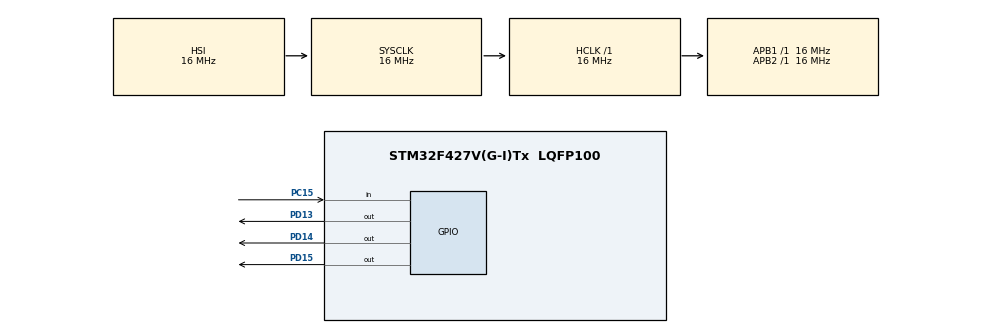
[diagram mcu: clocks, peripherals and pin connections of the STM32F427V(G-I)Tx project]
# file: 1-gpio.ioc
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Mcu.Family=STM32F4
Mcu.Name=STM32F427V(G-I)Tx
Mcu.Package=LQFP100
NVIC.PriorityGroup=NVIC_PRIORITYGROUP_4
PA13.Mode=JTAG_5_pins
PA13.Signal=SYS_JTMS-SWDIO
PA14.Mode=JTAG_5_pins
PA14.Signal=SYS_JTCK-SWCLK
PA15.Mode=JTAG_5_pins
PA15.Signal=SYS_JTDI
PB3.Mode=JTAG_5_pins
PB3.Signal=SYS_JTDO-SWO
PB4.Mode=JTAG_5_pins
PB4.Signal=SYS_JTRST
PC15/OSC32_OUT.Signal=GPIO_Input
PD13.Signal=GPIO_Output
PD14.Signal=GPIO_Output
PD15.Signal=GPIO_Output
ProjectManager.HeapSize=0x200
ProjectManager.StackSize=0x400
ProjectManager.TargetToolchain=STM32CubeIDE
RCC.AHBFreq_Value=16000000
RCC.APB1Freq_Value=16000000
RCC.APB2Freq_Value=16000000
RCC.CortexFreq_Value=16000000
RCC.HSE_VALUE=25000000
RCC.HSI_VALUE=16000000
RCC.LSE_VALUE=32768
RCC.SYSCLKFreq_VALUE=16000000
RCC.VCOOutputFreq_Value=192000000
board=custom

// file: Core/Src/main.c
/* USER CODE BEGIN Header */
/**
 ******************************************************************************
 * @file           : main.c
 * @brief          : Main program body
 ******************************************************************************
 * @attention
 *
 * Copyright (c) 2024 STMicroelectronics.
 * All rights reserved.
 *
 * This software is licensed under terms that can be found in the LICENSE file
 * in the root directory of this software component.
 * If no LICENSE file comes with this software, it is provided AS-IS.
 *
 ******************************************************************************
 */
/* USER CODE END Header */
#include "main.h"

/* USER CODE BEGIN Includes */
#include "animation.h"
#include "coroutine.h"
#include "count2.h"
#include "debounce.h"

#include "stm32f427xx.h"
#include "stm32f4xx_hal.h"
#include "sys/_intsup.h"

#include <limits.h>
#include <stdbool.h>
#include <stdint.h>
/* USER CODE END Includes */

void SystemClock_Config(void);
static void MX_GPIO_Init(void);

/* USER CODE BEGIN 0 */
typedef enum {
  GREEN = GPIO_PIN_13,
  YELLOW = GPIO_PIN_14,
  RED = GPIO_PIN_15,
} Color;

typedef enum {
  ON = GPIO_PIN_SET,
  OFF = GPIO_PIN_RESET,
} LightState;

static void light(Color color, LightState state) {
  HAL_GPIO_WritePin(GPIOD, color, state);
}

bool is_pressed() { return !HAL_GPIO_ReadPin(GPIOC, GPIO_PIN_15); }

long unsigned int now() { return HAL_GetTick(); }

/* USER CODE END 0 */

int main(void) {

  /* MCU Configuration--------------------------------------------------------*/

  /* Reset of all peripherals, Initializes the Flash interface and the Systick.
   */
  HAL_Init();

  /* Configure the system clock */
  SystemClock_Config();

  /* Initialize all configured peripherals */
  MX_GPIO_Init();

  /* Infinite loop */
  /* USER CODE BEGIN WHILE */

  count2_t count;
  count2_init(&count);

  coroutine(debounce) debouncing = coroutine_create(debounce, is_pressed, now);

  unsigned int animating_tick = UINT_MAX;
  coroutine(animation) animating;

  for (;;) {
    unsigned int tick = HAL_GetTick();

    const bool is_animating = (animating_tick != UINT_MAX);
    bool is_overflowed = false;

    enum debounce_state_t state = coroutine_next(debouncing);
    if (!is_animating) {
      switch (state) {
      case DEBOUNCE_SHORT_CLIKED: {
        count2_add(&count);
        is_overflowed = (count2_value(&count) == 0);
      } break;
      case DEBOUNCE_LONG_CLIKED: {
        count2_sub(&count);
        is_overflowed = (count2_value(&count) == 3);
      } break;
      case DEBOUNCE_NOT_CLIKED: {
        // Do nothing
      } break;
      }
    }

    if (!is_animating) {
      if (count2_bit(&count, 0)) {
        light(GREEN, ON);
      } else {
        light(GREEN, OFF);
      }

      if (count2_bit(&count, 1)) {
        light(YELLOW, ON);
      } else {
        light(YELLOW, OFF);
      }
    }

    if (is_overflowed) {
      animating = coroutine_create(animation, count2_overflows(&count));
      light(GREEN, OFF);
      light(YELLOW, OFF);
    }

    if (is_overflowed || (is_animating && animating_tick < tick)) { // ABA?
      const unsigned int delay = coroutine_next(animating);
      if (delay == 0) {
        animating_tick = UINT_MAX;
      } else {
        animating_tick = tick + delay;
      }
    }

    /* USER CODE END WHILE */

    /* USER CODE BEGIN 3 */
  }

  for (;;) {
    // Do nothing
  }
  /* USER CODE END 3 */
}

void SystemClock_Config(void) {
  RCC_OscInitTypeDef RCC_OscInitStruct = {0};
  RCC_ClkInitTypeDef RCC_ClkInitStruct = {0};

  /** Configure the main internal regulator output voltage
   */
  __HAL_RCC_PWR_CLK_ENABLE();
  __HAL_PWR_VOLTAGESCALING_CONFIG(PWR_REGULATOR_VOLTAGE_SCALE3);

  /** Initializes the RCC Oscillators according to the specified parameters
   * in the RCC_OscInitTypeDef structure.
   */
  RCC_OscInitStruct.OscillatorType = RCC_OSCILLATORTYPE_HSI;
  RCC_OscInitStruct.HSIState = RCC_HSI_ON;
  RCC_OscInitStruct.HSICalibrationValue = RCC_HSICALIBRATION_DEFAULT;
  RCC_OscInitStruct.PLL.PLLState = RCC_PLL_NONE;
  if (HAL_RCC_OscConfig(&RCC_OscInitStruct) != HAL_OK) {
    Error_Handler();
  }

  /** Initializes the CPU, AHB and APB buses clocks
   */
  RCC_ClkInitStruct.ClockType = RCC_CLOCKTYPE_HCLK | RCC_CLOCKTYPE_SYSCLK |
                                RCC_CLOCKTYPE_PCLK1 | RCC_CLOCKTYPE_PCLK2;
  RCC_ClkInitStruct.SYSCLKSource = RCC_SYSCLKSOURCE_HSI;
  RCC_ClkInitStruct.AHBCLKDivider = RCC_SYSCLK_DIV1;
  RCC_ClkInitStruct.APB1CLKDivider = RCC_HCLK_DIV1;
  RCC_ClkInitStruct.APB2CLKDivider = RCC_HCLK_DIV1;

  if (HAL_RCC_ClockConfig(&RCC_ClkInitStruct, FLASH_LATENCY_0) != HAL_OK) {
    Error_Handler();
  }
}

static void MX_GPIO_Init(void) {
  GPIO_InitTypeDef GPIO_InitStruct = {0};

  /* GPIO Ports Clock Enable */
  __HAL_RCC_GPIOC_CLK_ENABLE();
  __HAL_RCC_GPIOD_CLK_ENABLE();
  __HAL_RCC_GPIOA_CLK_ENABLE();
  __HAL_RCC_GPIOB_CLK_ENABLE();

  /*Configure GPIO pin Output Level */
  HAL_GPIO_WritePin(GPIOD, GPIO_PIN_13 | GPIO_PIN_14 | GPIO_PIN_15,
                    GPIO_PIN_RESET);

  /*Configure GPIO pin : PC15 */
  GPIO_InitStruct.Pin = GPIO_PIN_15;
  GPIO_InitStruct.Mode = GPIO_MODE_INPUT;
  GPIO_InitStruct.Pull = GPIO_NOPULL;
  HAL_GPIO_Init(GPIOC, &GPIO_InitStruct);

  /*Configure GPIO pins : PD13 PD14 PD15 */
  GPIO_InitStruct.Pin = GPIO_PIN_13 | GPIO_PIN_14 | GPIO_PIN_15;
  GPIO_InitStruct.Mode = GPIO_MODE_OUTPUT_PP;
  GPIO_InitStruct.Pull = GPIO_NOPULL;
  GPIO_InitStruct.Speed = GPIO_SPEED_FREQ_LOW;
  HAL_GPIO_Init(GPIOD, &GPIO_InitStruct);
}

void Error_Handler(void) {
  __disable_irq();
  while (1) {
  }
}

#ifdef USE_FULL_ASSERT
/**
 * @brief  Reports the name of the source file and the source line number
 *         where the assert_param error has occurred.
 * @param  file: pointer to the source file name
 * @param  line: assert_param error line source number
 * @retval None
 */
void assert_failed(uint8_t *file, uint32_t line) {
  /* USER CODE BEGIN 6 */
  /* User can add his own implementation to report the file name and line
     number, ex: printf("Wrong parameters value: file %s on line %d\r\n", file,
     line) */
  /* USER CODE END 6 */
}
#endif /* USE_FULL_ASSERT */
